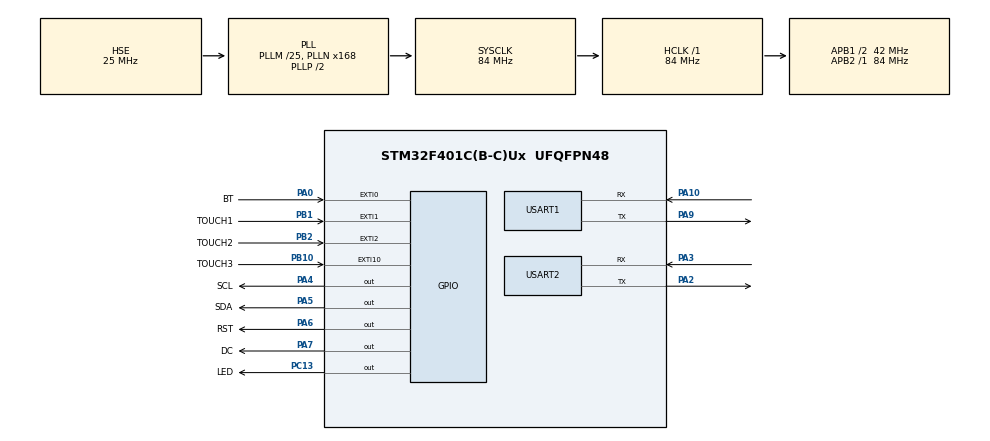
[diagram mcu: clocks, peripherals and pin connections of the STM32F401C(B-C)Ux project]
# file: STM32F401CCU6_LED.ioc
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Mcu.Family=STM32F4
Mcu.Name=STM32F401C(B-C)Ux
Mcu.Package=UFQFPN48
NVIC.EXTI0_IRQn=true\:0\:0\:false\:false\:true\:true\:true
NVIC.EXTI15_10_IRQn=true\:0\:0\:false\:false\:true\:true\:true
NVIC.EXTI1_IRQn=true\:0\:0\:false\:false\:true\:true\:true
NVIC.EXTI2_IRQn=true\:0\:0\:false\:false\:true\:true\:true
NVIC.PriorityGroup=NVIC_PRIORITYGROUP_4
PA0-WKUP.GPIO_Label=BT
PA0-WKUP.GPIO_ModeDefaultEXTI=GPIO_MODE_IT_FALLING
PA0-WKUP.GPIO_PuPd=GPIO_PULLUP
PA0-WKUP.Signal=GPXTI0
PA10.Mode=Asynchronous
PA10.Signal=USART1_RX
PA13.Mode=Serial_Wire
PA13.Signal=SYS_JTMS-SWDIO
PA14.Mode=Serial_Wire
PA14.Signal=SYS_JTCK-SWCLK
PA2.Mode=Asynchronous
PA2.Signal=USART2_TX
PA3.Mode=Asynchronous
PA3.Signal=USART2_RX
PA4.GPIO_Label=SCL
PA4.Signal=GPIO_Output
PA5.GPIO_Label=SDA
PA5.Signal=GPIO_Output
PA6.GPIO_Label=RST
PA6.Signal=GPIO_Output
PA7.GPIO_Label=DC
PA7.Signal=GPIO_Output
PA9.Mode=Asynchronous
PA9.Signal=USART1_TX
PB1.GPIO_Label=TOUCH1
PB1.GPIO_PuPd=GPIO_PULLDOWN
PB1.Signal=GPXTI1
PB10.GPIO_Label=TOUCH3
PB10.GPIO_PuPd=GPIO_PULLDOWN
PB10.Signal=GPXTI10
PB2.GPIO_Label=TOUCH2
PB2.GPIO_PuPd=GPIO_PULLDOWN
PB2.Signal=GPXTI2
PC13-ANTI_TAMP.GPIO_Label=LED
PC13-ANTI_TAMP.Signal=GPIO_Output
PH0\ -\ OSC_IN.Mode=HSE-External-Oscillator
PH0\ -\ OSC_IN.Signal=RCC_OSC_IN
PH1\ -\ OSC_OUT.Mode=HSE-External-Oscillator
PH1\ -\ OSC_OUT.Signal=RCC_OSC_OUT
ProjectManager.HeapSize=0x200
ProjectManager.StackSize=0x400
ProjectManager.TargetToolchain=MDK-ARM V5.32
RCC.48MHZClocksFreq_Value=42000000
RCC.AHBFreq_Value=84000000
RCC.APB1CLKDivider=RCC_HCLK_DIV2
RCC.APB1Freq_Value=42000000
RCC.APB1TimFreq_Value=84000000
RCC.APB2Freq_Value=84000000
RCC.APB2TimFreq_Value=84000000
RCC.CortexFreq_Value=84000000
RCC.HCLKFreq_Value=84000000
RCC.HSE_VALUE=25000000
RCC.HSI_VALUE=16000000
RCC.LSE_VALUE=32768
RCC.PLLM=25
RCC.PLLN=168
RCC.PLLSourceVirtual=RCC_PLLSOURCE_HSE
RCC.SYSCLKFreq_VALUE=84000000
RCC.SYSCLKSource=RCC_SYSCLKSOURCE_PLLCLK
RCC.VCOOutputFreq_Value=168000000
USART1.VirtualMode=VM_ASYNC
USART2.VirtualMode=VM_ASYNC
VP_TIM2_VS_ClockSourceINT.Mode=Internal
board=custom

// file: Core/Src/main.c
/* USER CODE BEGIN Header */
/**
  ******************************************************************************
  * @file           : main.c
  * @brief          : Main program body
  ******************************************************************************
  * @attention
  *
  * Copyright (c) 2022 STMicroelectronics.
  * All rights reserved.
  *
  * This software is licensed under terms that can be found in the LICENSE file
  * in the root directory of this software component.
  * If no LICENSE file comes with this software, it is provided AS-IS.
  *
  ******************************************************************************
  */
/* USER CODE END Header */
#include "main.h"
#include "tim.h"
#include "usart.h"
#include "gpio.h"

/* USER CODE BEGIN Includes */

#include "bsp_led.h"
#include "bsp_uart.h "
#include "OLED.h"
#include "menu.h"
#include "external_it.h"

/* USER CODE END Includes */

void SystemClock_Config(void);

/* USER CODE BEGIN 0 */

uint16_t times = 0;
uint8_t  bt_flag = 0;
void (*current_operation_index)();

extern uint8_t nonside[];
/* USER CODE END 0 */

int main(void)
{

  /* MCU Configuration--------------------------------------------------------*/

  /* Reset of all peripherals, Initializes the Flash interface and the Systick. */
  HAL_Init();

  /* Configure the system clock */
  SystemClock_Config();

  /* Initialize all configured peripherals */
  MX_GPIO_Init();
  MX_USART1_UART_Init();
  MX_TIM2_Init();
  MX_USART2_UART_Init();
  /* USER CODE BEGIN 2 */
  LCD_Init();
  LCD_Print(0, 0, "���ܼҾӹ���ϵͳ",TYPE16X16,TYPE8X16);
  HAL_Delay(1000);
  LCD_CLS();

  /* USER CODE END 2 */

  /* Infinite loop */
  /* USER CODE BEGIN WHILE */
  while (1)
  {
    #if 0
    LCD_Print(0, 0, "���ܼҾӹ���ϵͳ",TYPE16X16,TYPE8X16);
    HAL_Delay(1000);
    LCD_CLS();
    #else
	 if(dis_flag == 1)
	 {
		current_operation_index=table[func_index].current_operation;
		(*current_operation_index)();//ִ�е�ǰ��������
		dis_flag = 0;
	 }
   HAL_Delay(1);
    #endif
    /* USER CODE END WHILE */

  }
}

void SystemClock_Config(void)
{
  RCC_OscInitTypeDef RCC_OscInitStruct = {0};
  RCC_ClkInitTypeDef RCC_ClkInitStruct = {0};

  /** Configure the main internal regulator output voltage
  */
  __HAL_RCC_PWR_CLK_ENABLE();
  __HAL_PWR_VOLTAGESCALING_CONFIG(PWR_REGULATOR_VOLTAGE_SCALE2);
  /** Initializes the RCC Oscillators according to the specified parameters
  * in the RCC_OscInitTypeDef structure.
  */
  RCC_OscInitStruct.OscillatorType = RCC_OSCILLATORTYPE_HSE;
  RCC_OscInitStruct.HSEState = RCC_HSE_ON;
  RCC_OscInitStruct.PLL.PLLState = RCC_PLL_ON;
  RCC_OscInitStruct.PLL.PLLSource = RCC_PLLSOURCE_HSE;
  RCC_OscInitStruct.PLL.PLLM = 25;
  RCC_OscInitStruct.PLL.PLLN = 168;
  RCC_OscInitStruct.PLL.PLLP = RCC_PLLP_DIV2;
  RCC_OscInitStruct.PLL.PLLQ = 4;
  if (HAL_RCC_OscConfig(&RCC_OscInitStruct) != HAL_OK)
  {
    Error_Handler();
  }
  /** Initializes the CPU, AHB and APB buses clocks
  */
  RCC_ClkInitStruct.ClockType = RCC_CLOCKTYPE_HCLK|RCC_CLOCKTYPE_SYSCLK
                              |RCC_CLOCKTYPE_PCLK1|RCC_CLOCKTYPE_PCLK2;
  RCC_ClkInitStruct.SYSCLKSource = RCC_SYSCLKSOURCE_PLLCLK;
  RCC_ClkInitStruct.AHBCLKDivider = RCC_SYSCLK_DIV1;
  RCC_ClkInitStruct.APB1CLKDivider = RCC_HCLK_DIV2;
  RCC_ClkInitStruct.APB2CLKDivider = RCC_HCLK_DIV1;

  if (HAL_RCC_ClockConfig(&RCC_ClkInitStruct, FLASH_LATENCY_2) != HAL_OK)
  {
    Error_Handler();
  }
}

void Error_Handler(void)
{
  __disable_irq();
  while (1)
  {
  }
}
